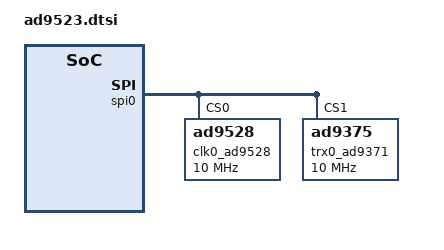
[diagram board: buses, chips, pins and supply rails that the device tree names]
&spi0 {
	status = "okay";
};

//#define fmc_spi spi0

#include <ad9528.h>

/ {
	clocks {

	};
};

&spi0 {

	clk0_ad9528: ad9528-1@0 {
			#address-cells = <1>;
			#size-cells = <0>;
			#clock-cells = <1>;
			compatible = "ad9528";
	
			spi-max-frequency = <10000000>;
			//adi,spi-3wire-enable;
			reg = <0>;
	
			clock-output-names = "ad9528-1_out0", "ad9528-1_out1", "ad9528-1_out2", "ad9528-1_out3", "ad9528-1_out4", "ad9528-1_out5", 	"ad9528-1_out6", "ad9528-1_out7", "ad9528-1_out8", "ad9528-1_out9", "ad9528-1_out10", "ad9528-1_out11", "ad9528-1_out12", 	"ad9528-1_out13";
			adi,vcxo-freq = <30720000>;
	
			adi,refa-enable;
			adi,refa-diff-rcv-enable;
			adi,refa-r-div = <4>;
			//adi,osc-in-cmos-neg-inp-enable;
	
			/* PLL1 config */
			adi,pll1-feedback-div = <1>;
			adi,pll1-charge-pump-current-nA = <5000>;//<63500>;//
	
	
			/* PLL2 config */
			adi,pll2-ndiv-a-cnt = <0>;	//P=4
			adi,pll2-ndiv-b-cnt = <30>;	//N2=P*b+a=120
			adi,pll2-vco-diff-m1 = <3>;	//M分频为3，VCO频率为30.72*120/3=1228.8
			adi,pll2-n2-div = <40>; /* N / M1 */
			adi,pll2-r1-div = <1>;
			adi,pll2-charge-pump-current-nA = <805000>;//间隔为3.5uA，0~FF满程900uA，当前取FE=889uA
	
			/* SYSREF config */
			adi,sysref-src = <SYSREF_SRC_INTERNAL>;
			adi,sysref-pattern-mode = <SYSREF_PATTERN_CONTINUOUS>;
			adi,sysref-k-div = <512>;
			adi,sysref-request-enable;
			adi,sysref-nshot-mode = <SYSREF_NSHOT_4_PULSES>;
			adi,sysref-request-trigger-mode = <SYSREF_LEVEL_HIGH>;
	
			adi,rpole2 = <RPOLE2_900_OHM>;
			adi,rzero = <RZERO_1850_OHM>;
			adi,cpole1 = <CPOLE1_16_PF>;
	
			adi,status-mon-pin0-function-select = <1>; /* PLL1 & PLL2 Locked */
			adi,status-mon-pin1-function-select = <7>; /* REFA Correct */
	
			ad9528_0_c0: channel@0 {
				reg = <0>;
				adi,extended-name = "TEST_CLK";
				adi,driver-mode = <DRIVER_MODE_LVDS>;
				adi,divider-phase = <0>;
				adi,channel-divider = <10>;
				adi,signal-source = <SOURCE_VCO>;
			};

			ad9528_0_c4: channel@4 {
				reg = <4>;
				adi,extended-name = "FPGA_CLK";
				adi,driver-mode = <DRIVER_MODE_LVDS>;
				adi,divider-phase = <0>;
				adi,channel-divider = <10>;
				adi,signal-source = <SOURCE_VCO>;
			};

			ad9528_0_c5: channel@5 {
				reg = <5>;
				adi,extended-name = "GTP_SECOND_CLK";
				adi,driver-mode = <DRIVER_MODE_LVDS>;
				adi,divider-phase = <0>;
				adi,channel-divider = <10>;
				adi,signal-source = <SOURCE_VCO>;
			};

			ad9528_0_c6: channel@6 {
				reg = <6>;
				adi,extended-name = "GTP_MAIN_CLK";
				adi,driver-mode = <DRIVER_MODE_LVDS>;
				adi,divider-phase = <0>;
				adi,channel-divider = <10>;
				adi,signal-source = <SOURCE_VCO>;
			};

			ad9528_0_c7: channel@7 {
				reg = <7>;
				adi,extended-name = "AD937X_CLK";
				adi,driver-mode = <DRIVER_MODE_LVDS>;
				adi,divider-phase = <0>;
				adi,channel-divider = <10>;
				adi,signal-source = <SOURCE_VCO>;
			};
	};

	trx0_ad9371: ad9371-phy@1 {
		#address-cells = <1>;
		#size-cells = <0>;
		#clock-cells = <1>;
		compatible = "ad9371";

		/* SPI Setup */
		reg = <1>;
		spi-max-frequency = <10000000>;//

		/* Clocks */
		clocks = <&clk0_ad9528 7>, <&clk0_ad9528 7>, <&clk0_ad9528 7>, <&clk0_ad9528 7>, <&clk0_ad9528 7>;
		clock-names = "jesd_rx_clk", "jesd_tx_clk", "jesd_rx_os_clk", "dev_clk", "fmc_clk";
		clock-output-names = "rx_sampl_clk", "rx_os_sampl_clk", "tx_sampl_clk";

		adi,clocks-device-clock_khz = <122880>;
		adi,clocks-clk-pll-vco-freq_khz = <9830400>;
		adi,clocks-clk-pll-vco-div = <2>;
		adi,clocks-clk-pll-hs-div = <4>;

		adi,rx-settings-rx-pll-lo-frequency_hz = /bits/64 <829500000>;
		adi,tx-settings-tx-pll-lo-frequency_hz = /bits/64 <874500000>;
		//adi,obs-settings-obs-rx-channels-enable = <0x03>;
		/* rx framer */
		//adi,jesd204-rx-framer-bank-id
		//adi,jesd204-rx-framer-device-id
		//adi,jesd204-rx-framer-lane0-id
		adi,jesd204-rx-framer-m = <4>;
		//adi,jesd204-rx-framer-k = <32>;
		adi,jesd204-rx-framer-scramble = <1>;
		//adi,jesd204-rx-framer-external-sysref = <1>;
		adi,jesd204-rx-framer-serializer-lanes-enabled = <4>;
		//adi,jesd204-rx-framer-serializer-lane-crossbar
		//adi,jesd204-rx-framer-serializer-amplitude
		//adi,jesd204-rx-framer-pre-emphasis
		//adi,jesd204-rx-framer-invert-lane-polarity
		//adi,jesd204-rx-framer-lmfc-offset
		//adi,jesd204-rx-framer-new-sysref-on-relink
		//adi,jesd204-rx-framer-enable-auto-chan-xbar
		//adi,jesd204-rx-framer-obs-rx-syncb-select
		//adi,jesd204-rx-framer-rx-syncb-mode
		//adi,jesd204-rx-framer-over-sample

		/* obs frame */
		//adi,jesd204-obs-framer-bank-id
		//adi,jesd204-obs-framer-device-id
		//adi,jesd204-obs-framer-lane0-id
		adi,jesd204-obs-framer-m = <2>;
		//adi,jesd204-obs-framer-k
		adi,jesd204-obs-framer-scramble = <1>;
		//adi,jesd204-obs-framer-external-sysref
		adi,jesd204-obs-framer-serializer-lanes-enabled = <1>;
		//adi,jesd204-obs-framer-serializer-lane-crossbar
		//adi,jesd204-obs-framer-serializer-amplitude
		//adi,jesd204-obs-framer-pre-emphasis
		//adi,jesd204-obs-framer-invert-lane-polarity
		//adi,jesd204-obs-framer-lmfc-offset
		//adi,jesd204-obs-framer-new-sysref-on-relink
		//adi,jesd204-obs-framer-enable-auto-chan-xbar
		//adi,jesd204-obs-framer-obs-rx-syncb-select
		//adi,jesd204-obs-framer-rx-syncb-mode
		//adi,jesd204-obs-framer-over-sample

		/* tx deframer */
		//adi,jesd204-deframer-bank-id
		//adi,jesd204-deframer-device-id
		//adi,jesd204-deframer-lane0-id
		adi,jesd204-deframer-m = <4>;
		//adi,jesd204-deframer-k
		adi,jesd204-deframer-scramble = <1>;
		//adi,jesd204-deframer-external-sysref
		adi,jesd204-deframer-deserializer-lanes-enabled = <5>;
		//adi,jesd204-deframer-deserializer-lane-crossbar
		//adi,jesd204-deframer-eq-setting
		//adi,jesd204-deframer-invert-lane-polarity
		//adi,jesd204-deframer-lmfc-offset
		//adi,jesd204-deframer-new-sysref-on-relink
		//adi,jesd204-deframer-enable-auto-chan-xbar
		//adi,jesd204-deframer-tx-syncb-mode

		adi,rx-profile-adc-div = <1>;
		adi,rx-profile-rx-fir-decimation = <2>;
		adi,rx-profile-rx-dec5-decimation = <5>;
		adi,rx-profile-en-high-rej-dec5 = <1>;
		adi,rx-profile-rhb1-decimation = <2>;
		adi,rx-profile-iq-rate_khz = <61440>;
		adi,rx-profile-rf-bandwidth_hz = <40000000>;
		adi,rx-profile-rx-bbf-3db-corner_khz = <40000>;

		adi,obs-profile-adc-div = <1>;
		adi,obs-profile-rx-fir-decimation = <2>;
		adi,obs-profile-rx-dec5-decimation = <5>;
		adi,obs-profile-en-high-rej-dec5 = <1>;
		adi,obs-profile-rhb1-decimation = <1>;
		adi,obs-profile-iq-rate_khz = <122880>;
		adi,obs-profile-rf-bandwidth_hz = <100000000>;
		adi,obs-profile-rx-bbf-3db-corner_khz = <50000>;

		adi,tx-profile-dac-div = <1>; //DACDIV_2p5
		adi,tx-profile-tx-fir-interpolation = <1>;
		adi,tx-profile-thb1-interpolation = <2>;
		adi,tx-profile-thb2-interpolation = <2>;
		adi,tx-profile-tx-input-hb-interpolation = <1>;
		adi,tx-profile-iq-rate_khz = <122880>;
		adi,tx-profile-primary-sig-bandwidth_hz = <20000000>;
		adi,tx-profile-rf-bandwidth_hz = <100000000>;
		adi,tx-profile-tx-dac-3db-corner_khz = <100000>;
		adi,tx-profile-tx-bbf-3db-corner_khz = <50000>;
	};

};

&trx0_ad9371 {

	compatible = "ad9375";

	adi,dpd-damping = <10>;
	adi,dpd-num-weights = <2>;
	adi,dpd-model-version = <2>;
	adi,dpd-high-power-model-update = <1>;
	adi,dpd-model-prior-weight = <20>;
	adi,dpd-robust-modeling = <0>;
	adi,dpd-samples = <512>;
	adi,dpd-outlier-threshold = <1638>;
	adi,dpd-additional-delay-offset = <(-1)>;
	adi,dpd-path-delay-pn-seq-level = <255>;
	adi,dpd-weights0-real = <0>;
	adi,dpd-weights0-imag = <(-2)>;
	adi,dpd-weights1-real = <(-64)>;
	adi,dpd-weights1-imag = <(-2)>;
	adi,dpd-weights2-real = <0>;
	adi,dpd-weights2-imag = <0>;

	adi,clgc-tx1-desired-gain = <(-2000)>;
	adi,clgc-tx2-desired-gain = <(-2000)>;
	adi,clgc-tx1-atten-limit = <0>;
	adi,clgc-tx2-atten-limit = <0>;
	adi,clgc-tx1-control-ratio = <75>;
	adi,clgc-tx2-control-ratio = <75>;
	adi,clgc-allow-tx1-atten-updates = <1>;
	adi,clgc-allow-tx2-atten-updates = <1>;
	adi,clgc-additional-delay-offset = <0>;
	adi,clgc-path-delay-pn-seq-level = <255>;
	adi,clgc-tx1-rel-threshold = <600>;
	adi,clgc-tx2-rel-threshold = <600>;
	adi,clgc-tx1-rel-threshold-en = <0>;
	adi,clgc-tx2-rel-threshold-en = <0>;

	adi,vswr-additional-delay-offset = <0>;
	adi,vswr-path-delay-pn-seq-level = <255>;
	adi,vswr-tx1-vswr-switch-gpio3p3-pin = <0>;
	adi,vswr-tx2-vswr-switch-gpio3p3-pin = <1>;
	adi,vswr-tx1-vswr-switch-polarity = <0>;
	adi,vswr-tx2-vswr-switch-polarity = <0>;
	adi,vswr-tx1-vswr-switch-delay_us = <50>;
	adi,vswr-tx2-vswr-switch-delay_us = <50>;
};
